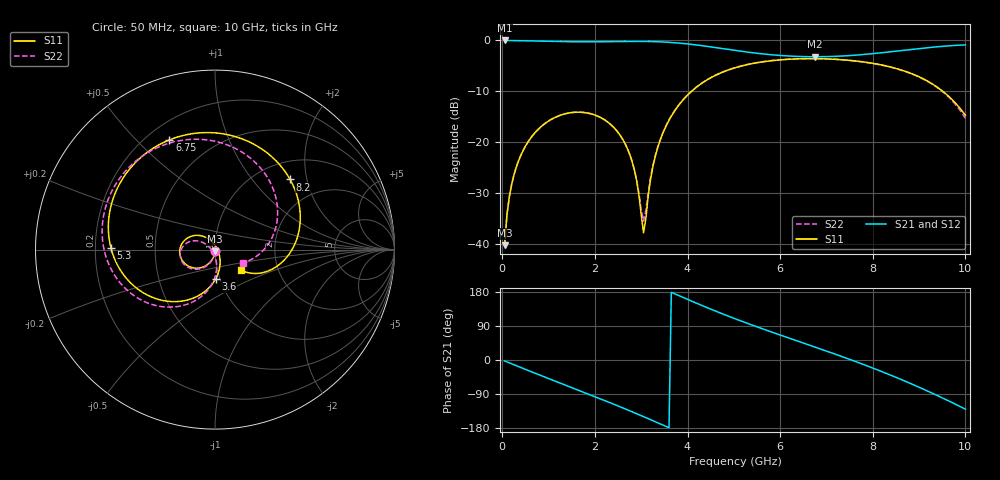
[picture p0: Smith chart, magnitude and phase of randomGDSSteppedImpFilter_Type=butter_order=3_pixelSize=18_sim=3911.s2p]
! freq	dB(S11)	phase(S11)	dB(S12)	phase(S12)
!  dB(S21)	phase(S21)	dB(S22)	phase(S22)
!S-par simulation data
#  GHz  S  DB  R 50
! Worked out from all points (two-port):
!   200 points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, 50 MHz to 10 GHz, reference 50 ohm
!   highest |S21| = -0.01 dB at 50 MHz (marker M1); lowest = -3.2 dB at 6.75 GHz (marker M2)
!   |S21| within 3 dB of the highest: start of sweep to 6.076 GHz; 7.451 GHz to end of sweep
!   lowest |S11| = -40.3 dB at 50 MHz (marker M3), VSWR 1.02, Z = 50 - j0.966 ohm
!   |S11| at or under -10 dB: start of sweep to 4.088 GHz; 9.511 GHz to end of sweep
!   |S22| runs from -40.5 to -3.6 dB; largest |S21 - S12| = 0
!   S11 on the Smith chart (normalised r, x): 50 MHz: 1.00, -0.02; 3.6 GHz: 0.95, -0.32; 5.3 GHz: 0.27, +0.01; 6.75 GHz: 0.29, +0.63; 8.2 GHz: 1.37, +1.59; 10 GHz: 1.30, -0.30
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0.05  -40.30 -91.1  -0.01 -2.5  -0.01 -2.5  -40.45 -90.9
0.2  -28.40 -100.4  -0.02 -10.0  -0.02 -10.0  -28.39 -99.7
0.5  -20.79 -116.1  -0.07 -24.7  -0.07 -24.7  -20.79 -114.2
1.05  -15.56 -144.0  -0.19 -51.4  -0.19 -51.4  -15.56 -140.0
1.75  -14.15 -179.2  -0.27 -84.8  -0.27 -84.8  -14.15 -171.6
2.65  -20.28 130.9  -0.20 -128.8  -0.20 -128.8  -20.27 151.7
2.9  -27.53 107.5  -0.19 -141.6  -0.19 -141.6  -27.39 152.6
3.05  -37.82 32.7  -0.19 -149.4  -0.19 -149.4  -35.51 -149.5
3.2  -27.39 -53.9  -0.21 -157.4  -0.21 -157.4  -26.95 -87.2
3.4  -19.86 -75.1  -0.27 -168.0  -0.27 -168.0  -19.72 -84.8
3.6  -15.69 -88.9  -0.37 -178.7  -0.37 -178.7  -15.61 -91.5
4.35  -8.17 -132.5  -1.07 141.8  -1.07 141.8  -8.12 -125.5
5.05  -5.31 -168.7  -1.99 107.8  -1.99 107.8  -5.28 -156.6
5.3  -4.74 179.2  -2.30 96.4  -2.30 96.4  -4.70 -167.1
5.95  -3.86 149.0  -2.92 68.0  -2.92 68.0  -3.83 167.1
6.7  -3.58 114.8  -3.21 36.4  -3.21 36.4  -3.57 138.4
6.75  -3.58 112.5  -3.21 34.2  -3.21 34.2  -3.57 136.5
7.45  -3.88 79.9  -3.01 4.0  -3.01 4.0  -3.88 109.1
8.2  -4.84 43.1  -2.41 -30.8  -2.41 -30.8  -4.87 77.2
8.35  -5.15 35.5  -2.27 -38.2  -2.27 -38.2  -5.18 70.3
9.25  -8.35 -10.2  -1.37 -85.7  -1.37 -85.7  -8.42 24.4
10  -14.73 -38.0  -0.88 -129.6  -0.88 -129.6  -15.33 -25.4
